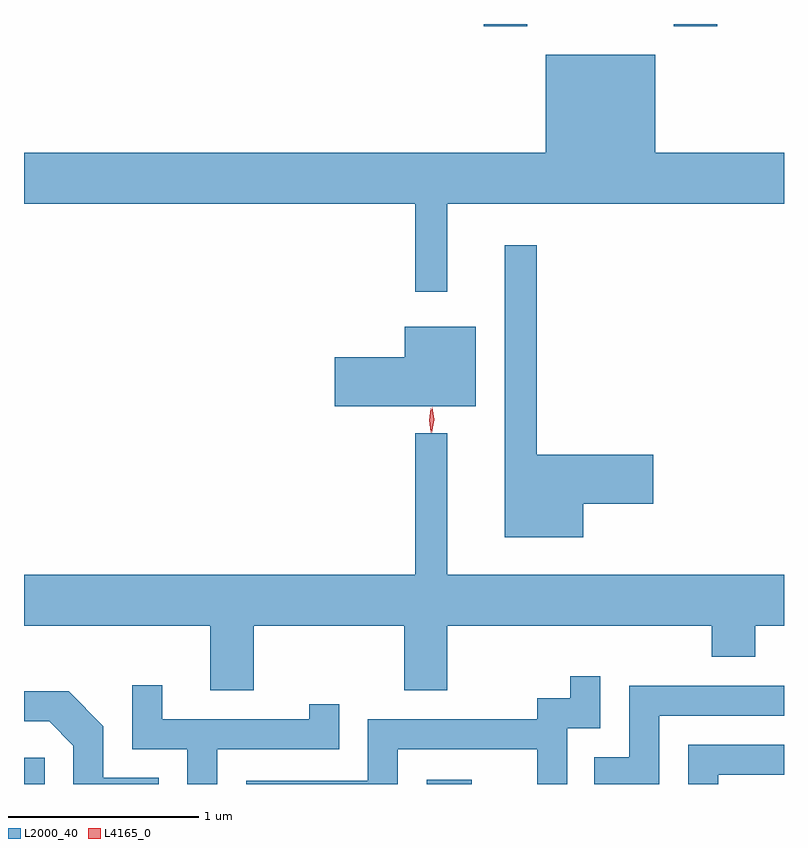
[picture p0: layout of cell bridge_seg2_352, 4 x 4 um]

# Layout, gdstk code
import gdstk
lib = gdstk.Library(unit=1e-6, precision=1e-09)
def R(c, l, rs):  # rectangles x0, y0, x1, y1
    for r in rs: c.add(gdstk.rectangle(r[:2], r[2:], *l))
def P(c, l, *ps):  # polygons
    for p in ps: c.add(gdstk.Polygon(p, *l))
L2000_40 = (2000, 40)
L4165_0 = (4165, 0)

bridge_seg2_352 = lib.new_cell('bridge_seg2_352')
R(bridge_seg2_352, L2000_40, [(396.071,1043.042,396.179,1043.179), (398.191,1043.042,398.428,1043.064), (398.491,1047.031,398.719,1047.042), (399.491,1047.031,399.719,1047.042)])
P(bridge_seg2_352, L2000_40, [(398.299,1046.096),(400.071,1046.096),(400.071,1046.364),(399.394,1046.364),(399.394,1046.879),(398.816,1046.879),(398.816,1046.364),(396.071,1046.364),(396.071,1046.096),(398.131,1046.096),(398.131,1045.632),(398.299,1045.632)],
  [(399.014,1044.516),(399.384,1044.516),(399.384,1044.774),(398.769,1044.774),(398.769,1045.878),(398.601,1045.878),(398.601,1044.341),(399.014,1044.341)],
  [(398.449,1045.449),(398.076,1045.449),(398.076,1045.289),(397.706,1045.289),(397.706,1045.031),(398.449,1045.031)],
  [(397.279,1043.876),(398.071,1043.876),(398.071,1043.536),(398.299,1043.536),(398.299,1043.876),(399.691,1043.876),(399.691,1043.711),(399.919,1043.711),(399.919,1043.876),(400.071,1043.876),(400.071,1044.144),(398.299,1044.144),(398.299,1044.888),(398.131,1044.888),(398.131,1044.144),(396.071,1044.144),(396.071,1043.876),(397.051,1043.876),(397.051,1043.536),(397.279,1043.536)],
  [(398.039,1043.226),(398.771,1043.226),(398.771,1043.042),(398.929,1043.042),(398.929,1043.336),(399.104,1043.336),(399.104,1043.608),(398.946,1043.608),(398.946,1043.494),(398.771,1043.494),(398.771,1043.384),(397.881,1043.384),(397.881,1043.059),(397.241,1043.059),(397.241,1043.042),(398.039,1043.042)],
  [(397.089,1043.226),(397.729,1043.226),(397.729,1043.463),(397.571,1043.463),(397.571,1043.384),(396.799,1043.384),(396.799,1043.563),(396.641,1043.563),(396.641,1043.226),(396.931,1043.226),(396.931,1043.042),(397.089,1043.042)],
  [(399.414,1043.401),(400.071,1043.401),(400.071,1043.559),(399.256,1043.559),(399.256,1043.184),(399.073,1043.184),(399.073,1043.042),(399.414,1043.042)],
  [(396.779,1043.074),(396.489,1043.074),(396.489,1043.347),(396.307,1043.529),(396.071,1043.529),(396.071,1043.371),(396.204,1043.371),(396.331,1043.244),(396.331,1043.042),(396.779,1043.042)],
  [(399.724,1043.091),(400.071,1043.091),(400.071,1043.249),(399.566,1043.249),(399.566,1043.042),(399.724,1043.042)])
P(bridge_seg2_352, L4165_0, [(398.218,1044.89),(398.218,1044.89),(398.209,1044.958),(398.219,1045.025),(398.219,1045.026),(398.22,1045.025),(398.229,1044.958),(398.218,1044.89)],
  [(398.213,1044.893),(398.212,1044.894),(398.203,1044.956),(398.212,1045.02),(398.213,1045.02),(398.213,1045.02),(398.223,1044.956),(398.213,1044.894)])

lib.write_gds('bridge_seg2_352.gds')
